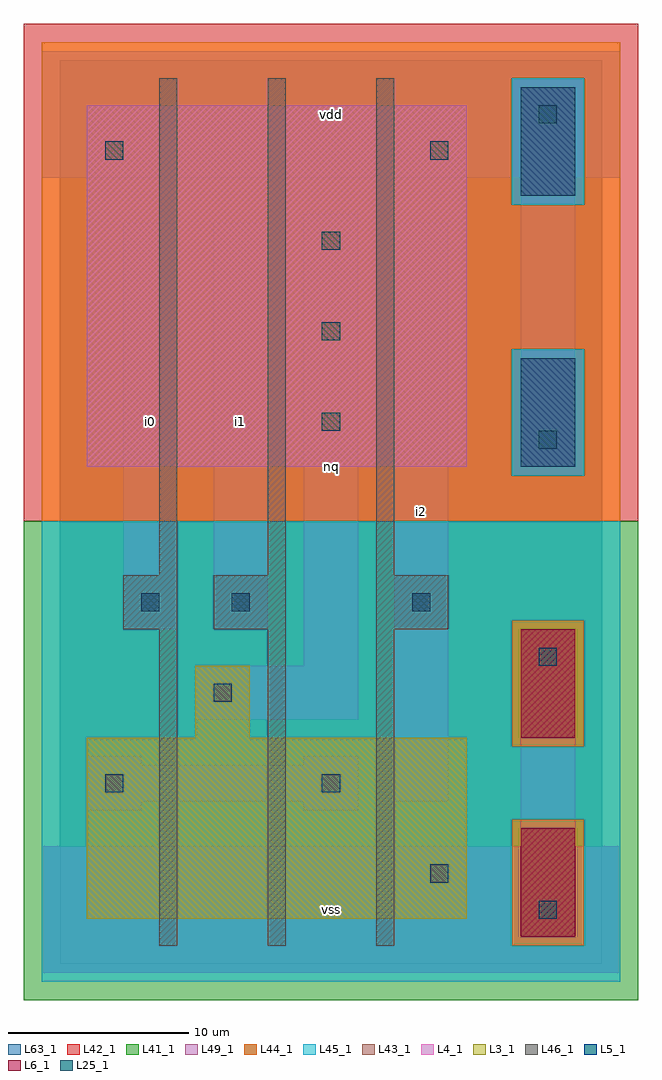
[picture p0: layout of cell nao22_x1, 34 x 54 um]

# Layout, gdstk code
import gdstk
lib = gdstk.Library(unit=1e-6, precision=1e-09)
def R(c, l, rs):  # rectangles x0, y0, x1, y1
    for r in rs: c.add(gdstk.rectangle(r[:2], r[2:], *l))
def A(c, l, x, y, w, h, nx, ny, dx, dy):  # array of equal rectangles
    R(c, l, [(x+i*dx, y+j*dy, x+i*dx+w, y+j*dy+h) for i in range(nx) for j in range(ny)])
L3_1 = (3, 1)
L4_1 = (4, 1)
L5_1 = (5, 1)
L6_1 = (6, 1)
L25_1 = (25, 1)
L41_1 = (41, 1)
L42_1 = (42, 1)
L43_1 = (43, 1)
L44_1 = (44, 1)
L45_1 = (45, 1)
L46_1 = (46, 1)
L49_1 = (49, 1)
L63_1 = (63, 1)

nao22_x1 = lib.new_cell('nao22_x1')
R(nao22_x1, L3_1, [(1.5,2.5,22.5,12.5), (7.5,12.5,10.5,16.5)])
R(nao22_x1, L4_1, [(1.5,27.5,22.5,47.5)])
R(nao22_x1, L5_1, [(25.5,27.5,28.5,33.5), (25.5,42.5,28.5,48.5)])
R(nao22_x1, L6_1, [(25.5,1.5,28.5,7.5), (25.5,12.5,28.5,18.5)])
A(nao22_x1, L25_1, 14.5, 29.5, 1, 1, 1, 3, 0, 5)
R(nao22_x1, L25_1, [(26.5,2.5,27.5,3.5), (20.5,4.5,21.5,5.5), (2.5,9.5,3.5,10.5), (14.5,9.5,15.5,10.5), (8.5,14.5,9.5,15.5), (26.5,16.5,27.5,17.5), (4.5,19.5,5.5,20.5), (9.5,19.5,10.5,20.5), (19.5,19.5,20.5,20.5), (26.5,28.5,27.5,29.5), (2.5,44.5,3.5,45.5), (20.5,44.5,21.5,45.5), (26.5,46.5,27.5,47.5)])
R(nao22_x1, L41_1, [(-2,-2,32,24.5)])
R(nao22_x1, L42_1, [(-2,24.5,32,52)])
A(nao22_x1, L43_1, 25.5, 12.5, 3, 6, 1, 3, 0, 15)
R(nao22_x1, L43_1, [(25.5,1.5,28.5,7.5), (1.5,2.5,22.5,12.5), (7.5,12.5,10.5,16.5), (1.5,27.5,22.5,47.5)])
R(nao22_x1, L44_1, [(25,1,29,8), (25,12,29,19), (-1,24.5,31,27), (-1,27,25,34), (29,27,31,34), (-1,34,31,42), (-1,42,25,49), (29,42,31,49), (-1,49,31,51)])
R(nao22_x1, L45_1, [(-1,-1,31,1), (-1,1,25,8), (29,1,31,8), (-1,8,31,12), (-1,12,25,19), (29,12,31,19), (-1,19,31,24.5), (25,27,29,34), (25,42,29,49)])
A(nao22_x1, L46_1, 5.5, 1, 1, 17.5, 3, 1, 6, 0)
A(nao22_x1, L46_1, 5.5, 21.5, 1, 27.5, 3, 1, 6, 0)
R(nao22_x1, L46_1, [(3.5,18.5,6.5,21.5), (8.5,18.5,12.5,21.5), (17.5,18.5,21.5,21.5)])
R(nao22_x1, L49_1, [(-1,-0.5,31,6.5), (25.5,6.5,28.5,18.5), (1.5,8.5,4.5,9), (13.5,8.5,16.5,9), (1.5,9,16.5,11), (18.5,9,21.5,41), (1.5,11,4.5,11.5), (13.5,11,16.5,11.5), (7.5,13.5,16.5,16.5), (13.5,16.5,16.5,41.5), (3.5,18.5,6.5,41), (8.5,18.5,11.5,41), (25.5,27.5,28.5,43.5), (-1,43.5,31,50.5)])
R(nao22_x1, L63_1, [(0,0,30,50)])
nao22_x1.add(gdstk.Label('i0', (5,30), layer=49, texttype=1))
nao22_x1.add(gdstk.Label('i0', (5,30), layer=49, texttype=1))
nao22_x1.add(gdstk.Label('i1', (10,30), layer=49, texttype=1))
nao22_x1.add(gdstk.Label('i1', (10,30), layer=49, texttype=1))
nao22_x1.add(gdstk.Label('vss', (15,3), layer=49, texttype=1))
nao22_x1.add(gdstk.Label('vss', (15,3), layer=49, texttype=1))
nao22_x1.add(gdstk.Label('i2', (20,25), layer=49, texttype=1))
nao22_x1.add(gdstk.Label('i2', (20,25), layer=49, texttype=1))
nao22_x1.add(gdstk.Label('nq', (15,27.5), layer=49, texttype=1))
nao22_x1.add(gdstk.Label('nq', (15,27.5), layer=49, texttype=1))
nao22_x1.add(gdstk.Label('vdd', (15,47), layer=49, texttype=1))
nao22_x1.add(gdstk.Label('vdd', (15,47), layer=49, texttype=1))

lib.write_gds('nao22_x1.gds')
